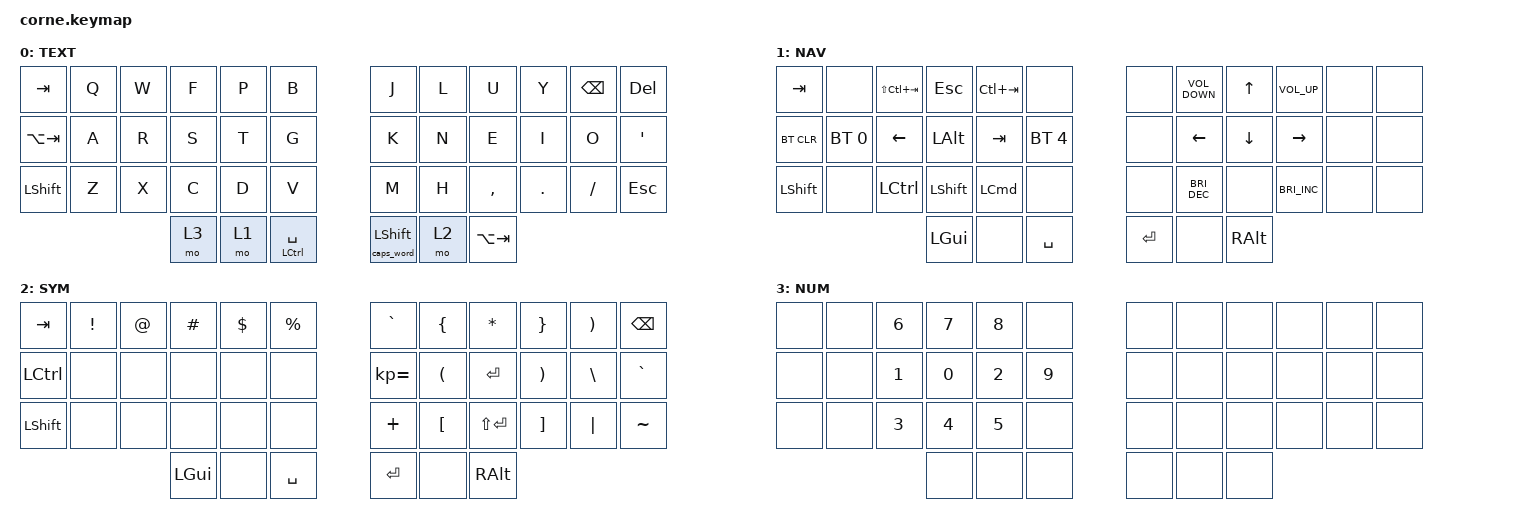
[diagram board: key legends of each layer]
/*
 * Copyright (c) 2020 The ZMK Contributors
 *
 * SPDX-License-Identifier: MIT
 */

#include <behaviors.dtsi>
#include <dt-bindings/zmk/bt.h>
#include <dt-bindings/zmk/keys.h>

/ {
    combos {
        compatible = "zmk,combos";

        copy {
            bindings = <&kp K_COPY>;
            key-positions = <26 27>;
        };

        paste {
            bindings = <&kp K_PASTE>;
            key-positions = <27 28>;
        };

        s_quote {
            bindings = <&kp SINGLE_QUOTE>;
            key-positions = <3 2>;
        };

        d_quote {
            bindings = <&kp DOUBLE_QUOTES>;
            key-positions = <3 4 2>;
        };

        linux_word_bkspace {
            bindings = <&kp LC(BACKSPACE)>;
            key-positions = <32 33>;
        };

        colon {
            bindings = <&kp COLON>;
            key-positions = <7 19>;
        };

        underscore {
            bindings = <&kp UNDERSCORE>;
            key-positions = <32 33 34>;
        };

        dash {
            bindings = <&kp KP_MINUS>;
            key-positions = <20 21 22>;
        };

        linux_word_del {
            bindings = <&kp LC(DELETE)>;
            key-positions = <31 32>;
        };

        reset_left {
            bindings = <&bootloader>;
            key-positions = <5 24>;
        };

        reset_right {
            bindings = <&bootloader>;
            key-positions = <6 35>;
        };

        at {
            bindings = <&kp AT>;
            key-positions = <4 5>;
        };

        exclam {
            bindings = <&kp EXCL>;
            key-positions = <5 17>;
        };

        equals {
            bindings = <&kp KP_EQUAL>;
            key-positions = <8 9>;
        };

        plus {
            bindings = <&kp PLUS>;
            key-positions = <8 9 10>;
        };

        semicolon {
            bindings = <&kp SEMI>;
            key-positions = <6 18>;
        };

        question {
            bindings = <&kp QUESTION>;
            key-positions = <4 16>;
        };
    };

    behaviors {
        one_shot_shift: one_shot_shift {
            compatible = "zmk,behavior-sticky-key";
            label = "ONE_SHOT_SHIFT";
            bindings = <&kp>;
            #binding-cells = <1>;
            release-after-ms = <1000>;
            quick-release;
        };

        shift_caps: shift_caps {
            compatible = "zmk,behavior-hold-tap";
            label = "SHIFT_CAPS";
            bindings = <&caps_word>, <&one_shot_shift>;

            #binding-cells = <2>;
            tapping-term-ms = <300>;
            flavor = "tap-preferred";
        };

        space_control: space_control {
            compatible = "zmk,behavior-hold-tap";
            label = "SPACE_CONTROL";
            bindings = <&kp>, <&kp>;

            #binding-cells = <2>;
            tapping-term-ms = <300>;
            flavor = "tap-preferred";
        };
    };

    keymap {
        compatible = "zmk,keymap";

        text {
            display-name = "TEXT";

            // -----------------------------------------------------------------------------------------
            // |  TAB |  Q  |  W  |  E  |  R  |  T  |   |  Y  |  U   |  I  |  O  |  P  | BSPC |
            // | CTRL |  A  |  S  |  D  |  F  |  G  |   |  H  |  J   |  K  |  L  |  ;  |  '   |
            // | SHFT |  Z  |  X  |  C  |  V  |  B  |   |  N  |  M   |  ,  |  .  |  /  | ESC  |
            //                    | GUI | LWR | SPC |   | ENT | RSE  | ALT |

            bindings = <
&kp TAB      &kp Q  &kp W  &kp F  &kp P  &kp B                         &kp J                     &kp L  &kp U        &kp Y    &kp BACKSPACE  &kp DELETE
&kp LA(TAB)  &kp A  &kp R  &kp S  &kp T  &kp G                         &kp K                     &kp N  &kp E        &kp I    &kp O          &kp SQT
&kp LSHFT    &kp Z  &kp X  &kp C  &kp D  &kp V                         &kp M                     &kp H  &kp COMMA    &kp DOT  &kp FSLH       &kp ESC
                           &mo 3  &mo 1  &space_control LCTRL SPACE    &shift_caps 0 LEFT_SHIFT  &mo 2  &kp LA(TAB)
            >;
        };

        navigation {
            display-name = "NAV";

            // -----------------------------------------------------------------------------------------
            // |  TAB |  1  |  2  |  3  |  4  |  5  |   |  6  |  7  |  8  |  9  |  0  | BSPC |
            // | BTCLR| BT1 | BT2 | BT3 | BT4 | BT5 |   | LFT | DWN |  UP | RGT |     |      |
            // | SHFT |     |     |     |     |     |   |     |     |     |     |     |      |
            //                    | GUI |     | SPC |   | ENT |     | ALT |

            bindings = <
&kp TAB     &none         &kp LS(LC(TAB))   &kp ESCAPE    &kp LC(TAB)       &none           &none    &kp K_VOLUME_DOWN     &kp UP_ARROW  &kp K_VOLUME_UP       &none  &none
&bt BT_CLR  &bt BT_SEL 0  &kp LEFT          &kp LEFT_ALT  &kp TAB           &bt BT_SEL 4    &none    &kp LEFT              &kp DOWN      &kp RIGHT             &none  &none
&kp LSHFT   &none         &kp LEFT_CONTROL  &kp LSHIFT    &kp LEFT_COMMAND  &none           &none    &kp C_BRIGHTNESS_DEC  &none         &kp C_BRIGHTNESS_INC  &none  &none
                                            &kp LGUI      &none             &kp SPACE       &kp RET  &none                 &kp RALT
            >;
        };

        symbols {
            display-name = "SYM";

            // -----------------------------------------------------------------------------------------
            // |  TAB |  !  |  @  |  #  |  $  |  %  |   |  ^  |  &  |  *  |  (  |  )  | BSPC |
            // | CTRL |     |     |     |     |     |   |  -  |  =  |  [  |  ]  |  \  |  `   |
            // | SHFT |     |     |     |     |     |   |  _  |  +  |  {  |  }  | "|" |  ~   |
            //                    | GUI |     | SPC |   | ENT |     | ALT |

            bindings = <
&kp TAB    &kp EXCL  &kp AT  &kp HASH  &kp DLLR  &kp PRCNT    &kp GRAVE     &kp LEFT_BRACE        &kp ASTRK      &kp RIGHT_BRACE        &kp RPAR  &kp BSPC
&kp LCTRL  &none     &none   &none     &none     &none        &kp KP_EQUAL  &kp LEFT_PARENTHESIS  &kp ENTER      &kp RIGHT_PARENTHESIS  &kp BSLH  &kp GRAVE
&kp LSHFT  &none     &none   &none     &none     &none        &kp PLUS      &kp LEFT_BRACKET      &kp LS(ENTER)  &kp RIGHT_BRACKET      &kp PIPE  &kp TILDE
                             &kp LGUI  &none     &kp SPACE    &kp RET       &none                 &kp RALT
            >;
        };

        numbers {
            bindings = <
&none  &none  &kp N6  &kp N7  &kp N8  &none     &none  &none  &none  &none  &none  &none
&none  &none  &kp N1  &kp N0  &kp N2  &kp N9    &none  &none  &none  &none  &none  &none
&none  &none  &kp N3  &kp N4  &kp N5  &none     &none  &none  &none  &none  &none  &none
                      &none   &none   &none     &none  &none  &none
            >;

            label = "NUM";
        };
    };

    conditional_layers { compatible = "zmk,conditional-layers"; };
};
